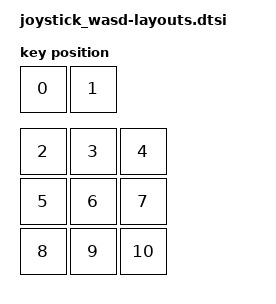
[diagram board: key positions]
#include <physical_layouts.dtsi>

/ {
    physical_layout0: physical_layout_0 { // First physical layout, use different naming for other layouts
        compatible = "zmk,physical-layout";
        display-name = "Default Layout";
        // https://zmk-physical-layout-converter.streamlit.app/
        keys  //                     w   h    x    y     rot    rx    ry
            = <&key_physical_attrs 100 100    0    0       0     0     0>
            , <&key_physical_attrs 100 100  100    0       0     0     0>
            , <&key_physical_attrs 100 100    0  125       0     0     0>
            , <&key_physical_attrs 100 100  100  125       0     0     0>
            , <&key_physical_attrs 100 100  200  125       0     0     0>
            , <&key_physical_attrs 100 100    0  225       0     0     0>
            , <&key_physical_attrs 100 100  100  225       0     0     0>
            , <&key_physical_attrs 100 100  200  225       0     0     0>
            , <&key_physical_attrs 100 100    0  325       0     0     0>
            , <&key_physical_attrs 100 100  100  325       0     0     0>
            , <&key_physical_attrs 100 100  200  325       0     0     0>
            ;
    };
};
